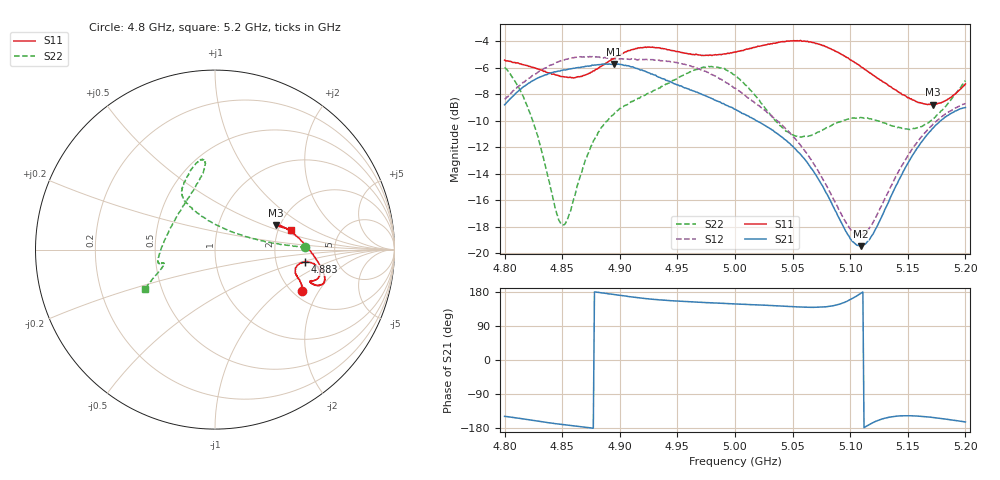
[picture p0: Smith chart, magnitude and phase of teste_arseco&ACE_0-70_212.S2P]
! Network Analyzer HP8722D
! Hewlett-Packard
! Data name: Linha & Wilkinson
! Saver's name: Rodrigo Anjos
! Comments: Teste da utilização de aquisição
! continua pelo VNA HP8722D
! Time and date: 8/5/2025 14:31
!  Frequency  S11  S21  S12  S22
# HZ  S  MA R 50
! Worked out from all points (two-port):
!   401 points, 4.8 GHz to 5.2 GHz, reference 50 ohm
!   highest |S21| = -5.70 dB at 4.895 GHz (marker M1); lowest = -19.5 dB at 5.109 GHz (marker M2)
!   |S21| within 3 dB of the highest: 4.801 GHz to 4.99 GHz (189.3 MHz wide, 3.87 % of centre)
!   lowest |S11| = -8.8 dB at 5.172 GHz (marker M3), VSWR 2.15, Z = 94.8 + j30 ohm
!   |S11| at or under -10 dB: nowhere
!   |S22| runs from -17.9 to -5.9 dB; largest |S21 - S12| = 1.1
!   S11 on the Smith chart (normalised r, x): 4.8 GHz: 2.23, -1.44; 4.883 GHz: 2.94, -0.55; 5.2 GHz: 2.33, +0.64
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4.8e9  0.5364 -25.4  0.3637 -148.8  0.3824 10.5  0.5039 1.4
4.812e9  0.5227 -22.2  0.4106 -153.6  0.4272 8.7  0.4245 2.8
4.823e9  0.5055 -20.6  0.445 -158.6  0.4642 7.3  0.3291 6.2
4.845e9  0.4715 -16.8  0.4855 -168.3  0.5262 4.0  0.1425 41.4
4.849e9  0.465 -16.2  0.4907 -169.9  0.5337 3.3  0.1291 58.7
4.855e9  0.4612 -14.5  0.4952 -172.2  0.5421 2.3  0.1359 84.8
4.867e9  0.4656 -10.8  0.5047 -176.5  0.5508 0.5  0.2028 113.1
4.883e9  0.5065 -7.9  0.5158 177.7  0.5487 -0.9  0.2936 120.9
4.895e9  0.5459 -7.9  0.5189 172.8  0.5428 -0.7  0.3359 121.7
4.916e9  0.5973 -11.8  0.4972 164.1  0.5379 -0.4  0.3857 118.5
4.934e9  0.5976 -15.5  0.4622 158.7  0.5371 -1.2  0.4204 113.0
4.975e9  0.5595 -18.6  0.3923 151.4  0.4858 -5.1  0.5061 99.3
5e9  0.5761 -19.3  0.3497 147.9  0.4205 -5.0  0.4711 96.9
5.043e9  0.6301 -17.6  0.2694 141.9  0.2987 2.8  0.2941 129.8
5.067e9  0.6253 -13.3  0.2075 139.0  0.2228 9.5  0.28 164.4
5.098e9  0.5473 -2.7  0.1174 156.2  0.1277 37.2  0.3216 -170.7
5.109e9  0.5076 2.4  0.1064 175.5  0.117 58.5  0.326 -167.1
5.119e9  0.4738 7.4  0.1169 -166.4  0.1289 78.0  0.3204 -166.0
5.134e9  0.4278 14.4  0.1589 -150.9  0.1743 94.8  0.3066 -165.7
5.152e9  0.383 20.6  0.2261 -147.0  0.2405 101.5  0.2934 -164.4
5.172e9  0.3644 22.1  0.2972 -151.7  0.3077 102.6  0.3208 -160.1
5.2e9  0.4358 14.9  0.3553 -163.5  0.3679 103.1  0.4492 -150.6
